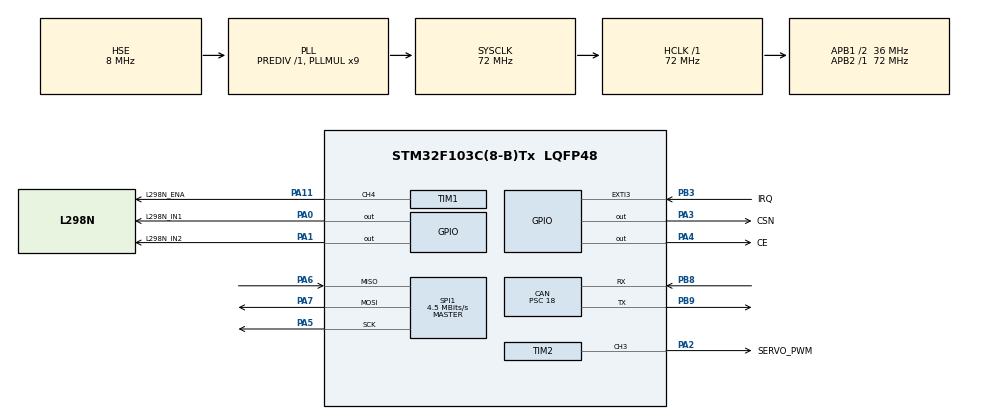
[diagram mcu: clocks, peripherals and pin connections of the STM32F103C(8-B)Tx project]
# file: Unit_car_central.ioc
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CAN.ABOM=ENABLE
CAN.BS1=CAN_BS1_2TQ
CAN.CalculateBaudRate=500000
CAN.CalculateTimeBit=2000
CAN.CalculateTimeQuantum=500.0
CAN.NART=ENABLE
CAN.Prescaler=18
CAN.SJW=CAN_SJW_2TQ
FREERTOS.BinarySemaphores01=RFSem,Dynamic,NULL,Depleted
FREERTOS.Queues01=CANTxQueue,2,VehicleCommand_t,0,Dynamic,NULL,NULL;CANRxQueue,1,CAN_RxPacket_t,0,Dynamic,NULL,NULL
FREERTOS.Tasks01=RFTask,40,256,StartRFTask,Default,NULL,Dynamic,NULL,NULL;CANTask,24,256,StartCANTask,Default,NULL,Dynamic,NULL,NULL
FREERTOS.configUSE_NEWLIB_REENTRANT=1
Mcu.Family=STM32F1
Mcu.Name=STM32F103C(8-B)Tx
Mcu.Package=LQFP48
NVIC.CAN1_RX1_IRQn=true\:5\:0\:false\:false\:true\:true\:true\:true\:true
NVIC.EXTI3_IRQn=true\:5\:0\:false\:false\:true\:true\:true\:true\:true
NVIC.PriorityGroup=NVIC_PRIORITYGROUP_4
NVIC.SPI1_IRQn=true\:5\:0\:false\:false\:true\:true\:true\:true\:true
NVIC.TIM2_IRQn=true\:5\:0\:false\:false\:true\:true\:true\:true\:true
NVIC.TIM3_IRQn=true\:15\:0\:false\:false\:true\:false\:false\:true\:true
NVIC.TimeBase=TIM3_IRQn
NVIC.TimeBaseIP=TIM3
PA0-WKUP.GPIO_Label=L298N_IN1
PA0-WKUP.Signal=GPIO_Output
PA1.GPIO_Label=L298N_IN2
PA1.Signal=GPIO_Output
PA11.GPIO_Label=L298N_ENA
PA11.Signal=S_TIM1_CH4
PA13.Mode=Serial_Wire
PA13.Signal=SYS_JTMS-SWDIO
PA14.Mode=Serial_Wire
PA14.Signal=SYS_JTCK-SWCLK
PA2.GPIO_Label=SERVO_PWM
PA2.Signal=S_TIM2_CH3
PA3.GPIO_Label=CSN
PA3.GPIO_Speed=GPIO_SPEED_FREQ_HIGH
PA3.Signal=GPIO_Output
PA4.GPIO_Label=CE
PA4.GPIO_Speed=GPIO_SPEED_FREQ_HIGH
PA4.Signal=GPIO_Output
PA5.Mode=Full_Duplex_Master
PA5.Signal=SPI1_SCK
PA6.Mode=Full_Duplex_Master
PA6.Signal=SPI1_MISO
PA7.Mode=Full_Duplex_Master
PA7.Signal=SPI1_MOSI
PB3.GPIO_Label=IRQ
PB3.GPIO_ModeDefaultEXTI=GPIO_MODE_IT_FALLING
PB3.Signal=GPXTI3
PB8.Mode=CAN_Activate
PB8.Signal=CAN_RX
PB9.Mode=CAN_Activate
PB9.Signal=CAN_TX
PD0-OSC_IN.Mode=HSE-External-Oscillator
PD0-OSC_IN.Signal=RCC_OSC_IN
PD1-OSC_OUT.Mode=HSE-External-Oscillator
PD1-OSC_OUT.Signal=RCC_OSC_OUT
ProjectManager.HeapSize=0x200
ProjectManager.StackSize=0x400
ProjectManager.TargetToolchain=STM32CubeIDE
RCC.AHBFreq_Value=72000000
RCC.APB1CLKDivider=RCC_HCLK_DIV2
RCC.APB1Freq_Value=36000000
RCC.APB1TimFreq_Value=72000000
RCC.APB2Freq_Value=72000000
RCC.APB2TimFreq_Value=72000000
RCC.HCLKFreq_Value=72000000
RCC.PLLMUL=RCC_PLL_MUL9
RCC.PLLSourceVirtual=RCC_PLLSOURCE_HSE
RCC.SYSCLKFreq_VALUE=72000000
RCC.SYSCLKSource=RCC_SYSCLKSOURCE_PLLCLK
RCC.USBFreq_Value=72000000
SH.S_TIM1_CH4.0=TIM1_CH4,PWM Generation4 CH4
SH.S_TIM2_CH3.0=TIM2_CH3,PWM Generation3 CH3
SPI1.BaudRatePrescaler=SPI_BAUDRATEPRESCALER_16
SPI1.CalculateBaudRate=4.5 MBits/s
SPI1.Direction=SPI_DIRECTION_2LINES
SPI1.Mode=SPI_MODE_MASTER
SPI1.VirtualType=VM_MASTER
TIM1.Channel-PWM\ Generation4\ CH4=TIM_CHANNEL_4
TIM1.Period=999
TIM1.Prescaler=36-1
TIM2.Channel-PWM\ Generation3\ CH3=TIM_CHANNEL_3
TIM2.Period=19999
TIM2.Prescaler=71
VP_FREERTOS_VS_CMSIS_V2.Mode=CMSIS_V2
VP_SYS_VS_tim3.Mode=TIM3
board=custom

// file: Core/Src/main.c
/* USER CODE BEGIN Header */
/**
  ******************************************************************************
  * @file           : main.c
  * @brief          : Main program body
  ******************************************************************************
  * @attention
  *
  * Copyright (c) 2025 STMicroelectronics.
  * All rights reserved.
  *
  * This software is licensed under terms that can be found in the LICENSE file
  * in the root directory of this software component.
  * If no LICENSE file comes with this software, it is provided AS-IS.
  *
  ******************************************************************************
  */
/* USER CODE END Header */
#include "main.h"
#include "cmsis_os.h"
#include "can.h"
#include "spi.h"
#include "tim.h"
#include "gpio.h"

/* USER CODE BEGIN Includes */
#include "NRF24.h"
#include "NRF24_reg_addresses.h"
#include <stdio.h>
#include <string.h>
#include "motor_control.h"
#include "can_handler.h"
#include "rf_handler.h"
/* USER CODE END Includes */

void SystemClock_Config(void);
void MX_FREERTOS_Init(void);

int main(void)
{

  /* MCU Configuration--------------------------------------------------------*/

  /* Reset of all peripherals, Initializes the Flash interface and the Systick. */
  HAL_Init();

  /* Configure the system clock */
  SystemClock_Config();

  /* Initialize all configured peripherals */
  MX_GPIO_Init();
  MX_TIM2_Init();
  MX_SPI1_Init();
  MX_TIM1_Init();
  MX_CAN_Init();
  /* USER CODE BEGIN 2 */

  // 1. CAN 핸들러 초기화 (CAN 시작, 필터 설정, 인터럽트 활성화)
  CANHandler_Init();

  // 2. RF 핸들러 초기화 (NRF24 모듈 Rx 모드 설정)
  RFHandler_Init();

  // 3. 모터 제어기 초기화 (PWM 타이머 시작, 초기 방향 설정)
  MotorControl_Init();

  /* USER CODE END 2 */

  /* Init scheduler */
  osKernelInitialize();

  /* Call init function for freertos objects (in cmsis_os2.c) */
  MX_FREERTOS_Init();

  /* Start scheduler */
  osKernelStart();

  /* We should never get here as control is now taken by the scheduler */

  /* Infinite loop */
    while (1)
    {

    }
}

void SystemClock_Config(void)
{
  RCC_OscInitTypeDef RCC_OscInitStruct = {0};
  RCC_ClkInitTypeDef RCC_ClkInitStruct = {0};

  /** Initializes the RCC Oscillators according to the specified parameters
  * in the RCC_OscInitTypeDef structure.
  */
  RCC_OscInitStruct.OscillatorType = RCC_OSCILLATORTYPE_HSE;
  RCC_OscInitStruct.HSEState = RCC_HSE_ON;
  RCC_OscInitStruct.HSEPredivValue = RCC_HSE_PREDIV_DIV1;
  RCC_OscInitStruct.HSIState = RCC_HSI_ON;
  RCC_OscInitStruct.PLL.PLLState = RCC_PLL_ON;
  RCC_OscInitStruct.PLL.PLLSource = RCC_PLLSOURCE_HSE;
  RCC_OscInitStruct.PLL.PLLMUL = RCC_PLL_MUL9;
  if (HAL_RCC_OscConfig(&RCC_OscInitStruct) != HAL_OK)
  {
    Error_Handler();
  }

  /** Initializes the CPU, AHB and APB buses clocks
  */
  RCC_ClkInitStruct.ClockType = RCC_CLOCKTYPE_HCLK|RCC_CLOCKTYPE_SYSCLK
                              |RCC_CLOCKTYPE_PCLK1|RCC_CLOCKTYPE_PCLK2;
  RCC_ClkInitStruct.SYSCLKSource = RCC_SYSCLKSOURCE_PLLCLK;
  RCC_ClkInitStruct.AHBCLKDivider = RCC_SYSCLK_DIV1;
  RCC_ClkInitStruct.APB1CLKDivider = RCC_HCLK_DIV2;
  RCC_ClkInitStruct.APB2CLKDivider = RCC_HCLK_DIV1;

  if (HAL_RCC_ClockConfig(&RCC_ClkInitStruct, FLASH_LATENCY_2) != HAL_OK)
  {
    Error_Handler();
  }
}

/* USER CODE BEGIN 4 */
/**
 * @brief GPIO 외부 인터럽트 콜백 함수
 * @param GPIO_Pin 인터럽트를 발생시킨 핀 번호
 * @note NRF24 모듈의 IRQ 핀(GPIO_PIN_3)에서 인터럽트가 발생하면,
 * 실제 처리를 `RFHandler_IrqCallback()` 함수에 위임한다.
 */
void HAL_GPIO_EXTI_Callback(uint16_t GPIO_Pin)
{
    if (GPIO_Pin == GPIO_PIN_3)  // NRF24의 IRQ 핀
    {
        RFHandler_IrqCallback(); // RF 핸들러의 콜백 함수 호출
    }
}
/* USER CODE END 4 */

void HAL_TIM_PeriodElapsedCallback(TIM_HandleTypeDef *htim)
{
  if (htim->Instance == TIM3)
  {
    HAL_IncTick();
  }
}

void Error_Handler(void)
{
  __disable_irq();
  while (1)
  {
  }
}

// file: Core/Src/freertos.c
/* USER CODE BEGIN Header */
/**
  ******************************************************************************
  * File Name          : freertos.c
  * Description        : Code for freertos applications
  ******************************************************************************
  * @attention
  *
  * Copyright (c) 2025 STMicroelectronics.
  * All rights reserved.
  *
  * This software is licensed under terms that can be found in the LICENSE file
  * in the root directory of this software component.
  * If no LICENSE file comes with this software, it is provided AS-IS.
  *
  ******************************************************************************
  */
/* USER CODE END Header */

#include "FreeRTOS.h"
#include "task.h"
#include "main.h"
#include "cmsis_os.h"

/* USER CODE BEGIN Includes */
#include <string.h> // memcpy를 사용하기 위해 필요
#include "motor_control.h"
#include "can_handler.h"
#include "rf_handler.h"
/* USER CODE END Includes */

/* USER CODE BEGIN PD */
#define RF_SEMAPHORE_TIMEOUT 250 // 250ms 동안 RF 신호가 없으면 실패로 간주
/* USER CODE END PD */

/* Definitions for RFTask */
osThreadId_t RFTaskHandle;
const osThreadAttr_t RFTask_attributes = {
  .name = "RFTask",
  .stack_size = 256 * 4,
  .priority = (osPriority_t) osPriorityHigh,
};
/* Definitions for CANTask */
osThreadId_t CANTaskHandle;
const osThreadAttr_t CANTask_attributes = {
  .name = "CANTask",
  .stack_size = 256 * 4,
  .priority = (osPriority_t) osPriorityNormal,
};
/* Definitions for CANTxQueue */
osMessageQueueId_t CANTxQueueHandle;
const osMessageQueueAttr_t CANTxQueue_attributes = {
  .name = "CANTxQueue"
};
/* Definitions for CANRxQueue */
osMessageQueueId_t CANRxQueueHandle;
const osMessageQueueAttr_t CANRxQueue_attributes = {
  .name = "CANRxQueue"
};
/* Definitions for RFSem */
osSemaphoreId_t RFSemHandle;
const osSemaphoreAttr_t RFSem_attributes = {
  .name = "RFSem"
};

void StartRFTask(void *argument);
void StartCANTask(void *argument);

void MX_FREERTOS_Init(void); /* (MISRA C 2004 rule 8.1) */

void MX_FREERTOS_Init(void) {

  /* Create the semaphores(s) */
  /* creation of RFSem */
  RFSemHandle = osSemaphoreNew(1, 0, &RFSem_attributes);

  /* Create the queue(s) */
  /* creation of CANTxQueue */
  CANTxQueueHandle = osMessageQueueNew (2, sizeof(VehicleCommand_t), &CANTxQueue_attributes);

  /* creation of CANRxQueue */
  CANRxQueueHandle = osMessageQueueNew (1, sizeof(CAN_RxPacket_t), &CANRxQueue_attributes);

  /* Create the thread(s) */
  /* creation of RFTask */
  RFTaskHandle = osThreadNew(StartRFTask, NULL, &RFTask_attributes);

  /* creation of CANTask */
  CANTaskHandle = osThreadNew(StartCANTask, NULL, &CANTask_attributes);

}

/* USER CODE BEGIN Header_StartRFTask */
/**
* @brief RF 통신 수신 및 주행 제어를 총괄하는 최상위 태스크
* @param argument: None
* @note 이 태스크는 다음과 같은 순서로 동작한다:
* 1. RF 수신 인터럽트(세마포어)를 타임아웃과 함께 대기한다.
* 2. 수신 성공 시, CANTask로부터 받은 최신 CAN 데이터(거리, RPM)가 있는지 확인하고, 있다면 ACK 페이로드에 반영할 준비를 한다.
* 3. RF 수신 버퍼의 모든 주행 명령을 `RFHandler_GetNewCommand`를 통해 처리한다.
* 4. 각 명령에 대해 모터를 제어(`MotorControl_Update`)하고, 해당 명령을 CANTask로 전달(`osMessageQueuePut`)한다.
* 5. 다음 전송을 위해 준비된 ACK 페이로드를 설정(`RFHandler_SetAckPayload`)한다.
* 6. 만약 RF 수신이 타임아웃되면, RF 통신이 끊어진 것으로 간주하고 RF 실패 상태를 CANTask로 전송한다.
*/
/* USER CODE END Header_StartRFTask */
void StartRFTask(void *argument)
{
  /* USER CODE BEGIN StartRFTask */
	VehicleCommand_t cmd = {0};

	//큐에서 받을 데이터를 담을 구조체 변수
	CAN_RxPacket_t received_can_packet;

	// RF ACK 페이로드로 보낼 3바이트 데이터 버퍼 선언 및 초기화
	// [0]:햅틱, [1]:RPM(하위), [2]:RPM(상위)
	uint8_t ack_payload[3] = {0};
  /* Infinite loop */
	for(;;)
	  {
	      // RF 수신 인터럽트를 타임아웃과 함께 대기
		if (osSemaphoreAcquire(RFSemHandle, RF_SEMAPHORE_TIMEOUT) == osOK)
		{
	      // CAN 수신 큐에서 최신 거리 값을 논블로킹으로 확인
		  // 성공적으로 새 데이터를 받으면 ack_payload를 업데이트
		  if (osMessageQueueGet(CANRxQueueHandle, &received_can_packet, NULL, 0U) == osOK)
		  {
			  // 큐에서 받은 구조체 데이터로 ack_payload 배열 채우기

			  // ack_payload[0]에는 햅틱을 위한 distance_signal 저장
			  ack_payload[0] = received_can_packet.distance_signal;

			  // memcpy를 사용하여 RPM 값을 페이로드에 저장
			  uint16_t rpm_value = received_can_packet.motor_rpm;
			  // rpm_value 변수의 메모리 내용을 ack_payload[1] 주소에 2바이트(sizeof(uint16_t))만큼 복사합니다.
			  // 이 방식은 시스템의 Endianness(리틀/빅 엔디안)에 따라 자동으로 바이트 순서가 결정된다.
			  memcpy(&ack_payload[1], &rpm_value, sizeof(uint16_t));
		  }
	      // RF 수신 버퍼에 있는 모든 명령을 처리
		  while (RFHandler_GetNewCommand(&cmd)) {

			  // 수신 성공 시, 구조체에 RF 상태(true)를 기록
			  cmd.rf_status = true;

	      // 모터 제어 업데이트
			  MotorControl_Update(&cmd);

	      // CAN 전송을 위해 수신한 cmd 구조체 전체를 CANTxQueue에 넣음
			  osMessageQueuePut(CANTxQueueHandle, &cmd, 0U, 0U);

	      // 컨트롤러에 보낼 ACK 페이로드 설정 (배열과 크기 전달)
			  // GetNewCommand 함수 내부에서 ACK를 보내므로, 이 함수를 호출한 직후에 ACK 페이로드를 설정해야 다음 ACK에 반영됨 (while loop 내부)
	      // (가장 최신 CAN 데이터로 매번 ACK 페이로드를 설정)
			  RFHandler_SetAckPayload(ack_payload, sizeof(ack_payload));
		  }
		}
		else
		{
			// RF 신호 수신 타임아웃 (실패)
			// RF 실패 상태를 CANTask로 알리기 위해 상태 메시지 전송
			memset(&cmd, 0, sizeof(VehicleCommand_t)); // 안전을 위해 주행 명령 초기화
			cmd.rf_status = false; // 구조체에 RF 상태(false) 기록
			osMessageQueuePut(CANTxQueueHandle, &cmd, 0U, 0U); // CANTask로 전송
		}
	  }
  /* USER CODE END StartRFTask */
}

/* USER CODE BEGIN Header_StartCANTask */
/**
* @brief RFTask로부터 받은 주행 상태를 CAN 버스로 전송하는 태스크
* @param argument: None
* @note 이 태스크는 `CANTxQueue`에 데이터가 들어올 때까지 무한정 대기한다.
* `RFTask`가 큐에 `VehicleCommand_t` 구조체를 넣으면, 이 태스크는 깨어나서
* 구조체에서 방향, 브레이크, RF 상태 정보를 추출하여 `CAN_Send_DriveStatus` 함수를 통해 전송한다.
*/
/* USER CODE END Header_StartCANTask */
void StartCANTask(void *argument)
{
  /* USER CODE BEGIN StartCANTask */
	VehicleCommand_t received_cmd;

  /* Infinite loop */
  for(;;)
  {
      // 큐에서 VehicleCommand_t 구조체 수신
	  osMessageQueueGet(CANTxQueueHandle, &received_cmd, NULL, osWaitForever);

      // 수신한 구조체에서 필요한 데이터 추출
      uint8_t dir = received_cmd.direction;
      uint8_t brake = (received_cmd.brake_ms > 0) ? 1 : 0;
      bool rf_ok = received_cmd.rf_status;

      // 실제 CAN 전송 함수 호출
      CAN_Send_DriveStatus(dir, brake, rf_ok);
  }
  /* USER CODE END StartCANTask */
}
